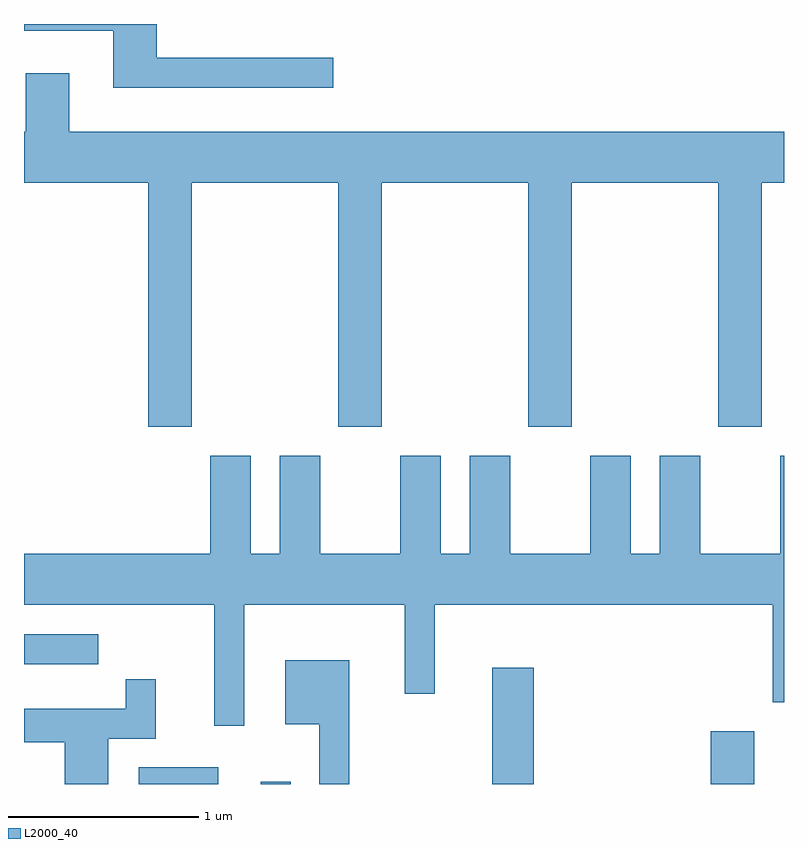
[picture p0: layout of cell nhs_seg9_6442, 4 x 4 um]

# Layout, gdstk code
import gdstk
lib = gdstk.Library(unit=1e-6, precision=1e-09)
def R(c, l, rs):  # rectangles x0, y0, x1, y1
    for r in rs: c.add(gdstk.rectangle(r[:2], r[2:], *l))
def P(c, l, *ps):  # polygons
    for p in ps: c.add(gdstk.Polygon(p, *l))
L2000_40 = (2000, 40)

nhs_seg9_6442 = lib.new_cell('nhs_seg9_6442')
R(nhs_seg9_6442, L2000_40, [(376.216,1986.432,376.634,1986.519), (376.856,1986.432,377.014,1986.443), (378.076,1986.432,378.294,1987.044), (379.226,1986.432,379.454,1986.709), (375.611,1987.061,376.003,1987.219)])
P(nhs_seg9_6442, L2000_40, [(377.238,1990.254),(376.309,1990.254),(376.309,1990.432),(375.611,1990.432),(375.611,1990.396),(376.081,1990.396),(376.081,1990.096),(377.238,1990.096)],
  [(376.494,1989.596),(377.266,1989.596),(377.266,1988.311),(377.494,1988.311),(377.494,1989.596),(378.266,1989.596),(378.266,1988.311),(378.494,1988.311),(378.494,1989.596),(379.266,1989.596),(379.266,1988.311),(379.494,1988.311),(379.494,1989.596),(379.611,1989.596),(379.611,1989.864),(375.849,1989.864),(375.849,1990.174),(375.621,1990.174),(375.621,1989.864),(375.611,1989.864),(375.611,1989.596),(376.266,1989.596),(376.266,1988.311),(376.494,1988.311)],
  [(376.769,1987.376),(377.616,1987.376),(377.616,1986.908),(377.774,1986.908),(377.774,1987.376),(379.551,1987.376),(379.551,1986.861),(379.611,1986.861),(379.611,1988.159),(379.591,1988.159),(379.591,1987.644),(379.169,1987.644),(379.169,1988.159),(378.956,1988.159),(378.956,1987.644),(378.804,1987.644),(378.804,1988.159),(378.591,1988.159),(378.591,1987.644),(378.169,1987.644),(378.169,1988.159),(377.956,1988.159),(377.956,1987.644),(377.804,1987.644),(377.804,1988.159),(377.591,1988.159),(377.591,1987.644),(377.169,1987.644),(377.169,1988.159),(376.956,1988.159),(376.956,1987.644),(376.804,1987.644),(376.804,1988.159),(376.591,1988.159),(376.591,1987.644),(375.611,1987.644),(375.611,1987.376),(376.611,1987.376),(376.611,1986.738),(376.769,1986.738)],
  [(377.324,1987.084),(376.986,1987.084),(376.986,1986.746),(377.166,1986.746),(377.166,1986.432),(377.324,1986.432)],
  [(376.054,1986.671),(376.304,1986.671),(376.304,1986.983),(376.146,1986.983),(376.146,1986.829),(375.611,1986.829),(375.611,1986.651),(375.826,1986.651),(375.826,1986.432),(376.054,1986.432)])

lib.write_gds('nhs_seg9_6442.gds')
